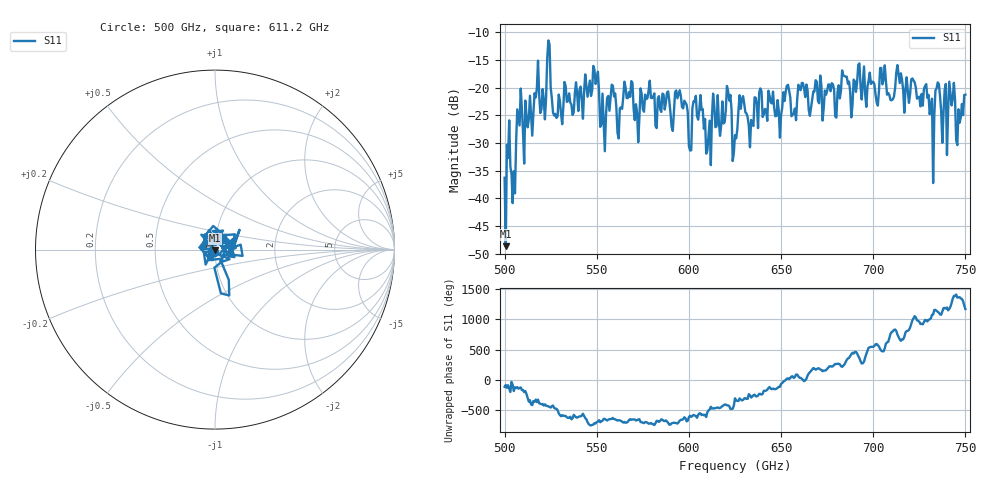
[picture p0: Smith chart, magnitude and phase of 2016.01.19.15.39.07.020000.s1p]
!Created with skrf (http://scikit-rf.org).
# GHz S RI R 50.0
!freq ReS11 ImS11
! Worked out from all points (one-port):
!   401 points, 500 GHz to 750 GHz, reference 50 ohm
!   lowest |S11| = -48.6 dB at 500.6 GHz (marker M1), VSWR 1.01, Z = 50.1 - j0.366 ohm
!   |S11| at or under -10 dB: start of sweep to end of sweep
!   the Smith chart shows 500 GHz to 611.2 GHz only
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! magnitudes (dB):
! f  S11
! 500 GHz  -36.3
! 500.6 GHz  -48.6
! 502.5 GHz  -25.9
! 505 GHz  -35.1
! 508.1 GHz  -26.8
! 520.6 GHz  -20.2
! 523.8 GHz  -11.5
! 527.5 GHz  -24.7
! 531.2 GHz  -26.6
! 549.4 GHz  -19.3
! 553.1 GHz  -21.1
! 558.8 GHz  -19.6
! 562.5 GHz  -23.7
! 566.2 GHz  -21.9
! 593.8 GHz  -21.9
! 610.6 GHz  -28.6
! 621.9 GHz  -22.3
! 625 GHz  -28.6
! 628.8 GHz  -22.0
! 633.8 GHz  -25.8
! 656.2 GHz  -24.9
! 687.5 GHz  -20.8
! 718.8 GHz  -20.6
! 728.8 GHz  -19.3
! 731.9 GHz  -22.0
! 735 GHz  -19.0
! 746.2 GHz  -23.9
! 750 GHz  -21.2
